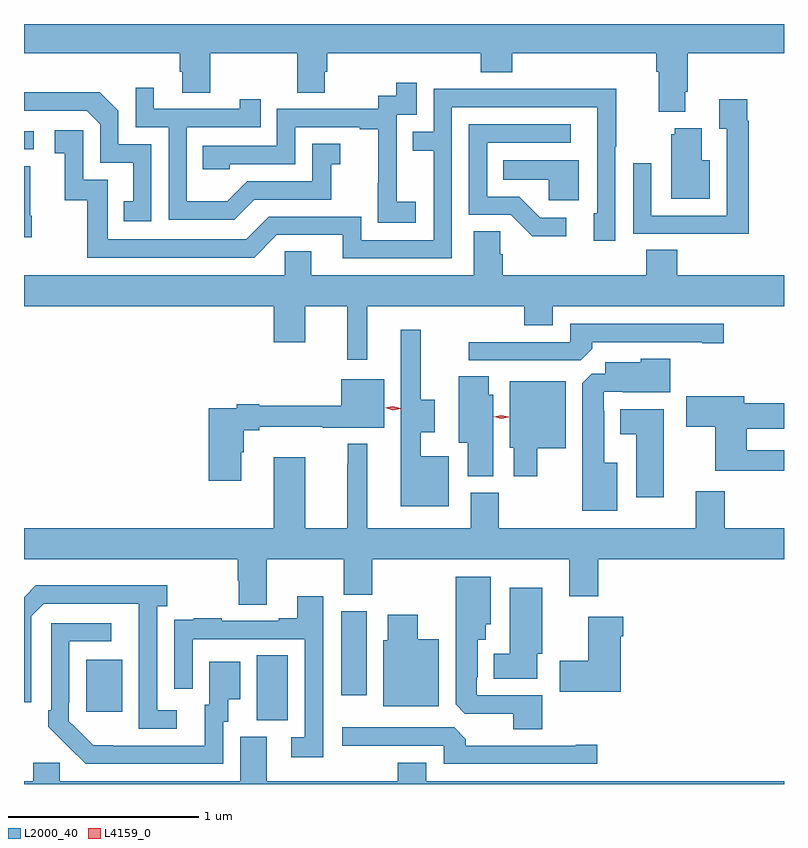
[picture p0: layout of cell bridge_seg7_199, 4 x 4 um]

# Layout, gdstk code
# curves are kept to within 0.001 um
import gdstk
lib = gdstk.Library(unit=1e-6, precision=1e-09)
def R(c, l, rs):  # rectangles x0, y0, x1, y1
    for r in rs: c.add(gdstk.rectangle(r[:2], r[2:], *l))
def P(c, l, *ps):  # polygons
    for p in ps: c.add(gdstk.Polygon(p, *l))
L2000_40 = (2000, 40)
L4159_0 = (4159, 0)

bridge_seg7_199 = lib.new_cell('bridge_seg7_199')
R(bridge_seg7_199, L2000_40, [(116.966,1054.381,117.13,1054.724), (116.069,1054.425,116.257,1054.699), (117.41,1054.512,117.544,1054.956), (115.741,1057.386,115.792,1057.482)])
P(bridge_seg7_199, L2000_40, [(119.221,1057.69),(119.234,1057.69),(119.234,1057.892),(119.741,1057.892),(119.741,1058.046),(115.741,1058.046),(115.741,1057.892),(116.561,1057.892),(116.561,1057.794),(116.573,1057.794),(116.573,1057.684),(116.721,1057.684),(116.721,1057.892),(117.178,1057.892),(117.178,1057.684),(117.325,1057.684),(117.325,1057.794),(117.338,1057.794),(117.338,1057.892),(118.145,1057.892),(118.145,1057.793),(118.31,1057.793),(118.31,1057.892),(119.069,1057.892),(119.069,1057.796),(119.081,1057.796),(119.081,1057.583),(119.221,1057.583)],
  [(117.802,1057.111),(117.704,1057.111),(117.704,1057.34),(117.702,1057.34),(117.702,1057.569),(117.807,1057.569),(117.807,1057.738),(117.699,1057.738),(117.699,1057.668),(117.606,1057.668),(117.606,1057.599),(117.072,1057.599),(117.072,1057.404),(116.683,1057.404),(116.683,1057.281),(116.823,1057.281),(116.823,1057.308),(117.168,1057.308),(117.168,1057.503),(117.509,1057.503),(117.509,1057.491),(117.605,1057.491),(117.605,1057.207),(117.604,1057.207),(117.604,1057.001),(117.802,1057.001)],
  [(116.953,1057.122),(117.357,1057.122),(117.357,1057.307),(117.406,1057.307),(117.406,1057.417),(117.258,1057.417),(117.258,1057.218),(116.916,1057.218),(116.812,1057.114),(116.598,1057.114),(116.598,1057.503),(116.987,1057.503),(116.987,1057.651),(116.876,1057.651),(116.876,1057.599),(116.425,1057.599),(116.425,1057.711),(116.328,1057.711),(116.328,1057.503),(116.502,1057.503),(116.502,1057.017),(116.848,1057.017)],
  [(117.993,1057.608),(118.757,1057.608),(118.758,1057.05),(118.739,1057.05),(118.739,1056.906),(118.854,1056.906),(118.854,1057.399),(118.857,1057.399),(118.857,1057.706),(118.393,1057.706),(118.393,1057.704),(117.897,1057.704),(117.897,1057.479),(117.787,1057.479),(117.787,1057.378),(117.897,1057.378),(117.897,1056.909),(117.516,1056.909),(117.516,1057.032),(117.03,1057.032),(116.91,1056.912),(116.181,1056.912),(116.181,1057.227),(116.052,1057.227),(116.052,1057.486),(115.902,1057.486),(115.902,1057.365),(115.955,1057.365),(115.955,1057.119),(116.073,1057.119),(116.073,1056.816),(116.952,1056.816),(117.072,1056.936),(117.419,1056.936),(117.419,1056.813),(117.993,1056.813)],
  [(116.412,1057.413),(116.238,1057.413),(116.238,1057.59),(116.14,1057.688),(115.741,1057.688),(115.741,1057.59),(116.07,1057.59),(116.142,1057.518),(116.142,1057.317),(116.315,1057.317),(116.315,1057.113),(116.266,1057.113),(116.266,1057.008),(116.412,1057.008)],
  [(119.555,1057.538),(119.548,1057.538),(119.548,1057.651),(119.399,1057.651),(119.399,1057.495),(119.439,1057.495),(119.439,1057.038),(119.043,1057.038),(119.043,1057.312),(118.947,1057.312),(118.947,1056.942),(119.263,1056.942),(119.263,1056.941),(119.555,1056.941)],
  [(118.594,1057.026),(118.459,1057.026),(118.348,1057.137),(118.179,1057.137),(118.179,1057.422),(118.618,1057.422),(118.618,1057.518),(118.083,1057.518),(118.083,1057.041),(118.302,1057.041),(118.415,1056.929),(118.594,1056.929)],
  [(119.35,1057.33),(119.308,1057.33),(119.308,1057.498),(119.165,1057.498),(119.165,1057.467),(119.147,1057.467),(119.147,1057.127),(119.35,1057.127)],
  [(118.66,1057.33),(118.264,1057.33),(118.264,1057.226),(118.503,1057.226),(118.503,1057.118),(118.66,1057.118)],
  [(115.782,1057.036),(115.774,1057.036),(115.774,1057.297),(115.741,1057.297),(115.741,1056.924),(115.782,1056.924)],
  [(117.547,1056.56),(118.373,1056.56),(118.373,1056.461),(118.525,1056.461),(118.525,1056.56),(119.741,1056.56),(119.741,1056.724),(119.18,1056.724),(119.18,1056.857),(119.015,1056.857),(119.015,1056.724),(118.262,1056.724),(118.262,1056.833),(118.248,1056.833),(118.248,1056.956),(118.109,1056.956),(118.109,1056.724),(117.253,1056.724),(117.253,1056.851),(117.114,1056.851),(117.114,1056.724),(115.741,1056.724),(115.741,1056.56),(117.056,1056.56),(117.056,1056.372),(117.22,1056.372),(117.22,1056.56),(117.443,1056.56),(117.443,1056.279),(117.547,1056.279)],
  [(118.733,1056.338),(118.733,1056.372),(119.312,1056.372),(119.312,1056.367),(119.425,1056.367),(119.425,1056.468),(118.617,1056.468),(118.617,1056.372),(118.083,1056.372),(118.083,1056.276),(118.671,1056.276)],
  [(117.976,1055.77),(117.829,1055.77),(117.829,1055.897),(117.904,1055.897),(117.904,1056.068),(117.829,1056.068),(117.829,1056.436),(117.725,1056.436),(117.725,1055.507),(117.976,1055.507)],
  [(118.864,1055.737),(118.795,1055.737),(118.795,1056.011),(118.791,1056.011),(118.791,1056.111),(118.891,1056.111),(118.891,1056.107),(119.143,1056.107),(119.143,1056.283),(118.986,1056.283),(118.986,1056.265),(118.799,1056.265),(118.799,1056.204),(118.728,1056.204),(118.679,1056.155),(118.679,1055.483),(118.864,1055.483)],
  [(118.21,1056.096),(118.186,1056.096),(118.186,1056.191),(118.028,1056.191),(118.028,1055.843),(118.076,1055.843),(118.076,1055.665),(118.21,1055.665)],
  [(116.884,1055.793),(116.897,1055.793),(116.897,1055.908),(116.98,1055.908),(116.98,1055.927),(117.314,1055.927),(117.314,1055.921),(117.637,1055.921),(117.637,1056.175),(117.41,1056.175),(117.41,1056.037),(116.98,1056.037),(116.98,1056.044),(116.86,1056.044),(116.86,1056.024),(116.714,1056.024),(116.714,1055.643),(116.884,1055.643)],
  [(118.441,1055.813),(118.591,1055.813),(118.591,1056.166),(118.298,1056.166),(118.298,1055.817),(118.319,1055.817),(118.319,1055.667),(118.441,1055.667)],
  [(119.741,1055.802),(119.546,1055.802),(119.546,1055.915),(119.741,1055.915),(119.741,1056.05),(119.533,1056.05),(119.533,1056.088),(119.226,1056.088),(119.226,1055.926),(119.378,1055.926),(119.378,1055.694),(119.741,1055.694)],
  [(119.107,1056.019),(118.88,1056.019),(118.88,1055.888),(118.964,1055.888),(118.964,1055.556),(119.107,1055.556)],
  [(117.019,1055.228),(117.425,1055.228),(117.425,1055.041),(117.573,1055.041),(117.573,1055.228),(118.61,1055.228),(118.61,1055.034),(118.763,1055.034),(118.763,1055.228),(119.741,1055.228),(119.741,1055.392),(119.429,1055.392),(119.429,1055.587),(119.276,1055.587),(119.276,1055.392),(118.239,1055.392),(118.239,1055.58),(118.091,1055.58),(118.091,1055.392),(117.547,1055.392),(117.547,1055.836),(117.445,1055.836),(117.445,1055.729),(117.443,1055.729),(117.443,1055.392),(117.22,1055.392),(117.22,1055.767),(117.056,1055.767),(117.056,1055.392),(115.741,1055.392),(115.741,1055.228),(116.867,1055.228),(116.867,1055.115),(116.872,1055.115),(116.872,1054.99),(117.019,1054.99)],
  [(118.469,1054.512),(118.125,1054.512),(118.125,1054.609),(118.129,1054.609),(118.129,1054.806),(118.171,1054.806),(118.171,1054.887),(118.198,1054.887),(118.198,1055.137),(118.013,1055.137),(118.013,1054.465),(118.062,1054.416),(118.316,1054.416),(118.316,1054.333),(118.469,1054.333)],
  [(116.545,1054.434),(116.442,1054.434),(116.442,1054.982),(116.494,1054.982),(116.494,1055.092),(115.804,1055.092),(115.741,1055.029),(115.741,1054.476),(115.779,1054.476),(115.779,1054.929),(115.845,1054.995),(116.345,1054.995),(116.346,1054.338),(116.545,1054.338)],
  [(118.441,1054.731),(118.468,1054.731),(118.468,1055.08),(118.298,1055.08),(118.298,1054.731),(118.214,1054.731),(118.214,1054.601),(118.441,1054.601)],
  [(117.315,1055.035),(117.179,1055.035),(117.179,1054.918),(117.083,1054.918),(117.083,1054.905),(116.783,1054.905),(116.783,1054.918),(116.635,1054.918),(116.635,1054.911),(116.533,1054.911),(116.533,1054.802),(116.532,1054.802),(116.532,1054.548),(116.628,1054.548),(116.628,1054.809),(117.219,1054.809),(117.219,1054.293),(117.147,1054.293),(117.147,1054.188),(117.315,1054.188)],
  [(117.925,1054.807),(117.814,1054.807),(117.814,1054.936),(117.656,1054.936),(117.656,1054.803),(117.632,1054.803),(117.632,1054.454),(117.925,1054.454)],
  [(118.882,1054.823),(118.895,1054.823),(118.895,1054.927),(118.712,1054.927),(118.712,1054.695),(118.56,1054.695),(118.56,1054.532),(118.882,1054.532)],
  [(116.79,1054.374),(116.815,1054.374),(116.815,1054.493),(116.878,1054.493),(116.878,1054.69),(116.717,1054.69),(116.717,1054.464),(116.693,1054.464),(116.693,1054.248),(116.106,1054.249),(115.977,1054.377),(115.977,1054.477),(115.98,1054.477),(115.98,1054.797),(116.2,1054.797),(116.2,1054.893),(115.884,1054.893),(115.884,1054.435),(115.869,1054.435),(115.869,1054.347),(116.066,1054.152),(116.79,1054.152)],
  [(118.759,1054.253),(118.646,1054.253),(118.646,1054.248),(118.067,1054.248),(118.067,1054.282),(118.005,1054.344),(117.417,1054.344),(117.417,1054.248),(117.951,1054.248),(117.951,1054.152),(118.759,1054.152)],
  [(119.741,1054.06),(117.859,1054.06),(117.859,1054.159),(117.707,1054.159),(117.707,1054.06),(117.019,1054.06),(117.019,1054.296),(116.879,1054.296),(116.879,1054.06),(115.929,1054.06),(115.929,1054.158),(115.79,1054.158),(115.79,1054.06),(115.741,1054.06),(115.741,1054.046),(119.741,1054.046)])
P(bridge_seg7_199, L4159_0, [(118.253,1055.968),(118.214,1055.978),(118.214,1055.979),(118.214,1055.979),(118.253,1055.988),(118.291,1055.978),(118.291,1055.977),(118.291,1055.977)],
  [(117.682,1056.014),(117.641,1056.025),(117.641,1056.026),(117.641,1056.026),(117.683,1056.034),(117.723,1056.023),(117.723,1056.022),(117.723,1056.022)])

lib.write_gds('bridge_seg7_199.gds')
